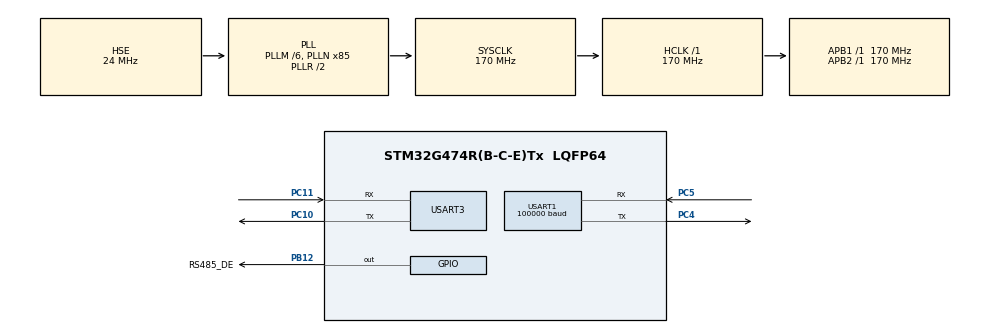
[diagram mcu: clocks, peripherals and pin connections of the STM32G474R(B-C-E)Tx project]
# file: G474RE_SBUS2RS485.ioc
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Dma.Request0=USART1_RX
Dma.USART1_RX.0.Direction=DMA_PERIPH_TO_MEMORY
Dma.USART1_RX.0.EventEnable=DISABLE
Dma.USART1_RX.0.Instance=DMA1_Channel1
Dma.USART1_RX.0.MemDataAlignment=DMA_MDATAALIGN_BYTE
Dma.USART1_RX.0.MemInc=DMA_MINC_ENABLE
Dma.USART1_RX.0.Mode=DMA_CIRCULAR
Dma.USART1_RX.0.PeriphDataAlignment=DMA_PDATAALIGN_BYTE
Dma.USART1_RX.0.PeriphInc=DMA_PINC_DISABLE
Dma.USART1_RX.0.Polarity=HAL_DMAMUX_REQ_GEN_RISING
Dma.USART1_RX.0.Priority=DMA_PRIORITY_HIGH
Dma.USART1_RX.0.RequestNumber=1
Dma.USART1_RX.0.SignalID=NONE
Dma.USART1_RX.0.SyncEnable=DISABLE
Dma.USART1_RX.0.SyncPolarity=HAL_DMAMUX_SYNC_NO_EVENT
Dma.USART1_RX.0.SyncRequestNumber=1
Dma.USART1_RX.0.SyncSignalID=NONE
FREERTOS.Tasks01=diagTask,8,256,StartDiagTask,Default,NULL,Static,diagTaskBuffer,diagTaskControlBlock;sbusTask,40,512,StartSbusTask,Default,NULL,Static,sbusTaskBuffer,sbusTaskControlBlock;modbusTask,32,512,StartModbusTask,Default,NULL,Static,modbusTaskBuffer,modbusTaskControlBlock
FREERTOS.configCHECK_FOR_STACK_OVERFLOW=2
FREERTOS.configUSE_MALLOC_FAILED_HOOK=1
Mcu.Family=STM32G4
Mcu.Name=STM32G474R(B-C-E)Tx
Mcu.Package=LQFP64
NUCLEO-G474RE.BUTTON=1
NUCLEO-G474RE.LD2=true
NUCLEO-G474RE.VCP=true
NVIC.DMA1_Channel1_IRQn=true\:5\:0\:false\:false\:true\:true\:false\:true\:true
NVIC.EXTI15_10_IRQn=true\:5\:0\:false\:false\:true\:true\:false\:true\:true
NVIC.PriorityGroup=NVIC_PRIORITYGROUP_4
NVIC.TIM6_DAC_IRQn=true\:15\:0\:false\:false\:true\:false\:false\:true\:true
NVIC.TimeBase=TIM6_DAC_IRQn
NVIC.TimeBaseIP=TIM6
NVIC.USART1_IRQn=true\:5\:0\:false\:false\:true\:true\:true\:true\:true
NVIC.USART3_IRQn=true\:6\:0\:true\:false\:true\:true\:true\:true\:true
PA13.GPIO_Label=T_SWDIO
PA13.Mode=Serial_Wire
PA13.Signal=SYS_JTMS-SWDIO
PA14.GPIO_Label=T_SWCLK
PA14.Mode=Serial_Wire
PA14.Signal=SYS_JTCK-SWCLK
PA2.Signal=LPUART1_TX
PA3.Signal=LPUART1_RX
PB12.GPIO_Label=RS485_DE
PB12.Signal=GPIO_Output
PB3.GPIO_Label=T_SWO
PB3.Signal=SYS_JTDO-SWO
PC10.Mode=Asynchronous
PC10.Signal=USART3_TX
PC11.Mode=Asynchronous
PC11.Signal=USART3_RX
PC14-OSC32_IN.GPIO_Label=RCC_OSC32_IN
PC14-OSC32_IN.Signal=RCC_OSC32_IN
PC15-OSC32_OUT.GPIO_Label=RCC_OSC32_OUT
PC15-OSC32_OUT.Signal=RCC_OSC32_OUT
PC4.Mode=Asynchronous
PC4.Signal=USART1_TX
PC5.Mode=Asynchronous
PC5.Signal=USART1_RX
PF0-OSC_IN.GPIO_Label=RCC_OSC_IN
PF0-OSC_IN.Mode=HSE-External-Oscillator
PF0-OSC_IN.Signal=RCC_OSC_IN
PF1-OSC_OUT.GPIO_Label=RCC_OSC_OUT
PF1-OSC_OUT.Mode=HSE-External-Oscillator
PF1-OSC_OUT.Signal=RCC_OSC_OUT
ProjectManager.HeapSize=0x200
ProjectManager.StackSize=0x400
ProjectManager.TargetToolchain=Makefile
RCC.ADC12Freq_Value=170000000
RCC.ADC345Freq_Value=170000000
RCC.AHBFreq_Value=170000000
RCC.APB1Freq_Value=170000000
RCC.APB1TimFreq_Value=170000000
RCC.APB2Freq_Value=170000000
RCC.APB2TimFreq_Value=170000000
RCC.CortexFreq_Value=170000000
RCC.EXTERNAL_CLOCK_VALUE=12288000
RCC.HCLKFreq_Value=170000000
RCC.HSE_VALUE=24000000
RCC.HSI48_VALUE=48000000
RCC.HSI_VALUE=16000000
RCC.LSE_VALUE=32768
RCC.PLLM=RCC_PLLM_DIV6
RCC.PLLN=85
RCC.PLLSourceVirtual=RCC_PLLSOURCE_HSE
RCC.RTCClockSelection=RCC_RTCCLKSOURCE_LSE
RCC.SYSCLKFreq_VALUE=170000000
RCC.SYSCLKSource=RCC_SYSCLKSOURCE_PLLCLK
RCC.USBFreq_Value=170000000
RCC.VCOOutputFreq_Value=340000000
USART1.BaudRate=100000
USART1.Mode=MODE_RX
USART1.Parity=PARITY_EVEN
USART1.RxPinLevelInvertParam=ADVFEATURE_RXINV_ENABLE
USART1.StopBits=STOPBITS_2
USART1.VirtualMode-Asynchronous=VM_ASYNC
USART1.WordLength=WORDLENGTH_9B
USART3.Parity=PARITY_EVEN
USART3.VirtualMode-Asynchronous=VM_ASYNC
USART3.WordLength=WORDLENGTH_9B
VP_FREERTOS_VS_CMSIS_V2.Mode=CMSIS_V2
VP_NUCLEO-G474RE_VS_BSP_COMMON.Mode=COMMON
VP_SYS_VS_DBSignals.Mode=DisableDeadBatterySignals
VP_SYS_VS_tim6.Mode=TIM6
board=NUCLEO-G474RE

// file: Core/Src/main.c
/* USER CODE BEGIN Header */
/**
  ******************************************************************************
  * @file           : main.c
  * @brief          : Main program body
  ******************************************************************************
  * @attention
  *
  * Copyright (c) 2026 STMicroelectronics.
  * All rights reserved.
  *
  * This software is licensed under terms that can be found in the LICENSE file
  * in the root directory of this software component.
  * If no LICENSE file comes with this software, it is provided AS-IS.
  *
  ******************************************************************************
  */
/* USER CODE END Header */
#include "main.h"
#include "cmsis_os.h"
#include "dma.h"
#include "usart.h"
#include "gpio.h"

COM_InitTypeDef BspCOMInit;

/* USER CODE BEGIN PV */
/* 定义在 app_freertos.c，供调试器观察 RTOS 故障。 */
extern volatile uint32_t g_rtosFaultCode;
/* USER CODE END PV */

void SystemClock_Config(void);
void MX_FREERTOS_Init(void);

int main(void)
{

  /* MCU Configuration--------------------------------------------------------*/

  /* Reset of all peripherals, Initializes the Flash interface and the Systick. */
  HAL_Init();

  /* Configure the system clock */
  SystemClock_Config();

  /* Initialize all configured peripherals */
  MX_GPIO_Init();
  MX_DMA_Init();
  MX_USART1_UART_Init();
  MX_USART3_UART_Init();

  /* Init scheduler */
  osKernelInitialize();  /* Call init function for freertos objects (in cmsis_os2.c) */
  MX_FREERTOS_Init();

  /* Initialize led */
  BSP_LED_Init(LED_GREEN);

  /* Initialize USER push-button, will be used to trigger an interrupt each time it's pressed.*/
  BSP_PB_Init(BUTTON_USER, BUTTON_MODE_EXTI);

  /* Initialize COM1 port (115200, 8 bits (7-bit data + 1 stop bit), no parity */
  BspCOMInit.BaudRate   = 115200;
  BspCOMInit.WordLength = COM_WORDLENGTH_8B;
  BspCOMInit.StopBits   = COM_STOPBITS_1;
  BspCOMInit.Parity     = COM_PARITY_NONE;
  BspCOMInit.HwFlowCtl  = COM_HWCONTROL_NONE;
  if (BSP_COM_Init(COM1, &BspCOMInit) != BSP_ERROR_NONE)
  {
    Error_Handler();
  }

  /* Start scheduler */
  osKernelStart();

  /* We should never get here as control is now taken by the scheduler */

  /* Infinite loop */
  /* USER CODE BEGIN WHILE */
  /* 本工程不主动结束调度器；osKernelStart() 正常启动后不应返回。
     不仅检查返回码：当前 CMSIS 包装层在调度器意外返回后也可能返回 osOK。 */
  g_rtosFaultCode = 7U;
  Error_Handler();
  while (1)
  {

    /* USER CODE END WHILE */

  }
}

void SystemClock_Config(void)
{
  RCC_OscInitTypeDef RCC_OscInitStruct = {0};
  RCC_ClkInitTypeDef RCC_ClkInitStruct = {0};

  /** Configure the main internal regulator output voltage
  */
  HAL_PWREx_ControlVoltageScaling(PWR_REGULATOR_VOLTAGE_SCALE1_BOOST);

  /** Initializes the RCC Oscillators according to the specified parameters
  * in the RCC_OscInitTypeDef structure.
  */
  RCC_OscInitStruct.OscillatorType = RCC_OSCILLATORTYPE_HSE;
  RCC_OscInitStruct.HSEState = RCC_HSE_ON;
  RCC_OscInitStruct.PLL.PLLState = RCC_PLL_ON;
  RCC_OscInitStruct.PLL.PLLSource = RCC_PLLSOURCE_HSE;
  RCC_OscInitStruct.PLL.PLLM = RCC_PLLM_DIV6;
  RCC_OscInitStruct.PLL.PLLN = 85;
  RCC_OscInitStruct.PLL.PLLP = RCC_PLLP_DIV2;
  RCC_OscInitStruct.PLL.PLLQ = RCC_PLLQ_DIV2;
  RCC_OscInitStruct.PLL.PLLR = RCC_PLLR_DIV2;
  if (HAL_RCC_OscConfig(&RCC_OscInitStruct) != HAL_OK)
  {
    Error_Handler();
  }

  /** Initializes the CPU, AHB and APB buses clocks
  */
  RCC_ClkInitStruct.ClockType = RCC_CLOCKTYPE_HCLK|RCC_CLOCKTYPE_SYSCLK
                              |RCC_CLOCKTYPE_PCLK1|RCC_CLOCKTYPE_PCLK2;
  RCC_ClkInitStruct.SYSCLKSource = RCC_SYSCLKSOURCE_PLLCLK;
  RCC_ClkInitStruct.AHBCLKDivider = RCC_SYSCLK_DIV1;
  RCC_ClkInitStruct.APB1CLKDivider = RCC_HCLK_DIV1;
  RCC_ClkInitStruct.APB2CLKDivider = RCC_HCLK_DIV1;

  if (HAL_RCC_ClockConfig(&RCC_ClkInitStruct, FLASH_LATENCY_4) != HAL_OK)
  {
    Error_Handler();
  }
}

void HAL_TIM_PeriodElapsedCallback(TIM_HandleTypeDef *htim)
{
  if (htim->Instance == TIM6)
  {
    HAL_IncTick();
  }
}

void Error_Handler(void)
{
  __disable_irq();
  while (1)
  {
  }
}

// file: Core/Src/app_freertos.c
/* USER CODE BEGIN Header */
/**
  ******************************************************************************
  * File Name          : app_freertos.c
  * Description        : Code for freertos applications
  ******************************************************************************
  * @attention
  *
  * Copyright (c) 2026 STMicroelectronics.
  * All rights reserved.
  *
  * This software is licensed under terms that can be found in the LICENSE file
  * in the root directory of this software component.
  * If no LICENSE file comes with this software, it is provided AS-IS.
  *
  ******************************************************************************
  */
/* USER CODE END Header */

#include "FreeRTOS.h"
#include "task.h"
#include "main.h"
#include "cmsis_os.h"

/* USER CODE BEGIN Includes */
#include "sbus_uart.h"
#include "rc_snapshot.h"
#include "bridge_service.h"
/* USER CODE END Includes */

typedef StaticTask_t osStaticThreadDef_t;

/* USER CODE BEGIN Variables */
/* 调试器中查看；仅保存在 RAM，复位后不保留 */
volatile uint32_t g_rtosFaultCode = 0U;               // RTOS 故障代码
TaskHandle_t volatile g_rtosFaultTask = NULL;         // RTOS 故障任务句柄
volatile bool g_sbusStartOk = false;                 // 台架启动结果；不是链路有效标志
volatile BridgeState g_bridgeStartState = BRIDGE_DISABLED;
/* 仅 diagTask 写，调试器读；任务间请使用 bridge_service_get_diagnostics()。 */
BridgeDiagnostics g_bridgeDiagnostics;
/* USER CODE END Variables */
/* Definitions for diagTask */
osThreadId_t diagTaskHandle;
uint32_t diagTaskBuffer[ 256 ];
osStaticThreadDef_t diagTaskControlBlock;
const osThreadAttr_t diagTask_attributes = {
  .name = "diagTask",
  .stack_mem = &diagTaskBuffer[0],
  .stack_size = sizeof(diagTaskBuffer),
  .cb_mem = &diagTaskControlBlock,
  .cb_size = sizeof(diagTaskControlBlock),
  .priority = (osPriority_t) osPriorityLow,
};
/* Definitions for sbusTask */
osThreadId_t sbusTaskHandle;
uint32_t sbusTaskBuffer[ 512 ];
osStaticThreadDef_t sbusTaskControlBlock;
const osThreadAttr_t sbusTask_attributes = {
  .name = "sbusTask",
  .stack_mem = &sbusTaskBuffer[0],
  .stack_size = sizeof(sbusTaskBuffer),
  .cb_mem = &sbusTaskControlBlock,
  .cb_size = sizeof(sbusTaskControlBlock),
  .priority = (osPriority_t) osPriorityHigh,
};
/* Definitions for modbusTask */
osThreadId_t modbusTaskHandle;
uint32_t modbusTaskBuffer[ 512 ];
osStaticThreadDef_t modbusTaskControlBlock;
const osThreadAttr_t modbusTask_attributes = {
  .name = "modbusTask",
  .stack_mem = &modbusTaskBuffer[0],
  .stack_size = sizeof(modbusTaskBuffer),
  .cb_mem = &modbusTaskControlBlock,
  .cb_size = sizeof(modbusTaskControlBlock),
  .priority = (osPriority_t) osPriorityAboveNormal,
};

void StartDiagTask(void *argument);
void StartSbusTask(void *argument);
void StartModbusTask(void *argument);

void MX_FREERTOS_Init(void); /* (MISRA C 2004 rule 8.1) */

/* Hook prototypes */
void vApplicationStackOverflowHook(xTaskHandle xTask, signed char *pcTaskName);
void vApplicationMallocFailedHook(void);

/* USER CODE BEGIN 4 */
void vApplicationStackOverflowHook(xTaskHandle xTask, signed char *pcTaskName)
{
	/* Run time stack overflow checking is performed if
	configCHECK_FOR_STACK_OVERFLOW is defined to 1 or 2. This hook function is
	called if a stack overflow is detected. */
	(void)pcTaskName;               // 告诉编译器这个参数暂时不用

	__disable_irq();                // CMSIS 提供的处理器接口，用于屏蔽普通可屏蔽中断

	g_rtosFaultTask = xTask;        // 保存 RTOS 故障任务句柄
	g_rtosFaultCode = 1U;           // 保存 RTOS 故障代码，1 对应 StackOverFlow

	for(;;)
	{
    __NOP();                      // 空指令
	}
}
/* USER CODE END 4 */

/* USER CODE BEGIN 5 */
void vApplicationMallocFailedHook(void)
{
  /* vApplicationMallocFailedHook() will only be called if
  configUSE_MALLOC_FAILED_HOOK is set to 1 in FreeRTOSConfig.h. It is a hook
  function that will get called if a call to pvPortMalloc() fails.
  pvPortMalloc() is called internally by the kernel whenever a task, queue,
  timer or semaphore is created. It is also called by various parts of the
  demo application. If heap_1.c or heap_2.c are used, then the size of the
  heap available to pvPortMalloc() is defined by configTOTAL_HEAP_SIZE in
  FreeRTOSConfig.h, and the xPortGetFreeHeapSize() API function can be used
  to query the size of free heap space that remains (although it does not
  provide information on how the remaining heap might be fragmented). */
  __disable_irq();              // 屏蔽普通可屏蔽中断

  g_rtosFaultCode = 2U;         // 保存 RTOS 故障代码，2 对应 MallocFailed

  for(;;)
  {
    __NOP();                    // 空指令
  }
}
/* USER CODE END 5 */

void MX_FREERTOS_Init(void) {
  /* USER CODE BEGIN Init */
  /* main() 已调用 osKernelInitialize()；创建任务前必须处于 Ready 状态。 */
  if (osKernelGetState() != osKernelReady)
  {
    g_rtosFaultCode = 3U; /* 内核初始化状态异常 */
    Error_Handler();
  }
  rc_snapshot_init(); /* 所有生产者和消费者启动前初始化一次。 */
  /* USER CODE END Init */

  /* Create the thread(s) */
  /* creation of diagTask */
  diagTaskHandle = osThreadNew(StartDiagTask, NULL, &diagTask_attributes);

  /* creation of sbusTask */
  sbusTaskHandle = osThreadNew(StartSbusTask, NULL, &sbusTask_attributes);

  /* creation of modbusTask */
  modbusTaskHandle = osThreadNew(StartModbusTask, NULL, &modbusTask_attributes);

  /* USER CODE BEGIN RTOS_THREADS */
  /* 调度器尚未启动；任一任务创建失败都禁止继续启动。 */
  if (diagTaskHandle == NULL)
  {
    g_rtosFaultCode = 4U;
    Error_Handler();
  }
  if (sbusTaskHandle == NULL)
  {
    g_rtosFaultCode = 5U;
    Error_Handler();
  }
  if (modbusTaskHandle == NULL)
  {
    g_rtosFaultCode = 6U;
    Error_Handler();
  }
  /* USER CODE END RTOS_THREADS */

}

void StartDiagTask(void *argument)
{
  /* USER CODE BEGIN StartDiagTask */
  /* Infinite loop */
  for(;;)
  {
    HAL_GPIO_TogglePin(GPIOA, GPIO_PIN_5);
    (void)bridge_service_get_diagnostics(&g_bridgeDiagnostics);
    osDelay(500);
  }
  /* USER CODE END StartDiagTask */
}

void StartSbusTask(void *argument)
{
  /* USER CODE BEGIN StartSbusTask */
  g_sbusStartOk = sbus_uart_start();
  if (!g_sbusStartOk)
  {
    /* 通信故障不关全局中断；保留 LED 和调试器，快照仍不可用。 */
    for (;;) osDelay(100);
  }
  for(;;)
   {
    /* 标志只负责唤醒，数据及累计进度保存在接收层，多个事件可合并。 */
    (void)osThreadFlagsWait(SBUS_UART_THREAD_FLAG, osFlagsWaitAny, osWaitForever);
    sbus_uart_process();
  }
  /* USER CODE END StartSbusTask */
}

void StartModbusTask(void *argument)
{
  /* USER CODE BEGIN StartModbusTask */
  (void)argument;
  g_bridgeStartState = bridge_service_start(bridge_config_get());
  for(;;)
  {
    /* RTU 静默和失联检查需要周期唤醒；线程标志只降低事件处理等待。
     * 1 tick 在当前 FreeRTOS 1000 Hz 配置下为 1 ms，不是 RTU 帧边界。 */
    (void)osThreadFlagsWait(RS485_THREAD_FLAG, osFlagsWaitAny, 1U);
    bridge_service_process();
  }
  /* USER CODE END StartModbusTask */
}
